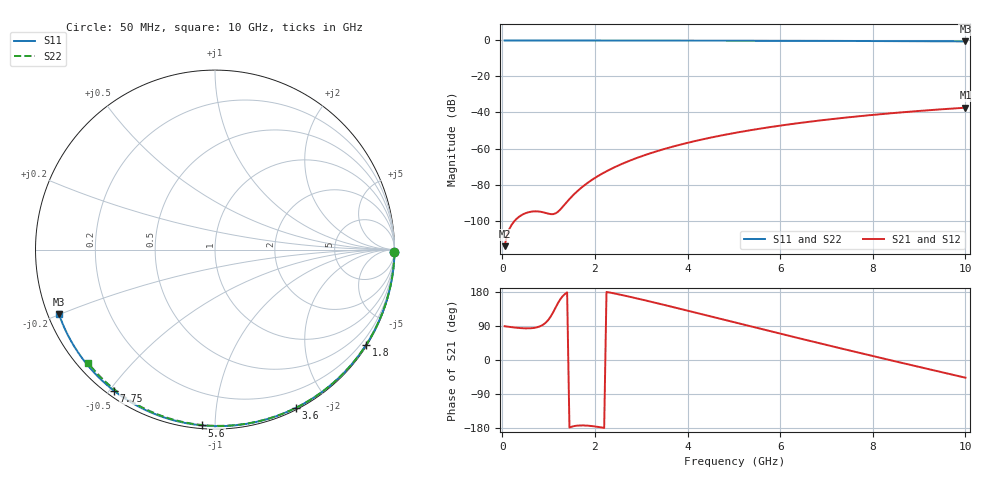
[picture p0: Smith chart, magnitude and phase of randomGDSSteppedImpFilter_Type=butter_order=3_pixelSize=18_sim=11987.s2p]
! freq	dB(S11)	phase(S11)	dB(S12)	phase(S12)
!  dB(S21)	phase(S21)	dB(S22)	phase(S22)
!S-par simulation data
#  GHz  S  DB  R 50
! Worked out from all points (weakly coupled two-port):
!   200 points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, 50 MHz to 10 GHz, reference 50 ohm
!   highest |S21| = -37.34 dB at 10 GHz (marker M1); lowest = -114.2 dB at 50 MHz (marker M2)
!   lowest |S11| = -0.5 dB at 10 GHz (marker M3), VSWR 32.82, Z = 1.58 - j9.91 ohm
!   |S11| at or under -10 dB: nowhere
!   |S22| runs from -0.5 to 0.0 dB; largest |S21 - S12| = 0
!   S11 on the Smith chart (normalised r, x): 50 MHz: open; 1.8 GHz: 0.03, -3.45; 3.6 GHz: 0.02, -1.64; 5.6 GHz: 0.02, -0.93; 7.75 GHz: 0.02, -0.51; 10 GHz: 0.03, -0.20
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0.05  -0.00 -0.9  -114.24 89.1  -114.24 89.1  -0.00 -0.8
0.45  -0.01 -8.2  -96.52 83.8  -96.52 83.8  -0.01 -7.2
0.9  -0.02 -16.3  -95.53 94.7  -95.53 94.7  -0.02 -14.3
1.3  -0.03 -23.5  -92.51 167.8  -92.51 167.8  -0.03 -20.6
1.75  -0.04 -31.4  -80.88 -172.7  -80.88 -172.7  -0.04 -27.6
1.8  -0.04 -32.3  -79.89 -172.9  -79.89 -172.9  -0.04 -28.4
1.95  -0.04 -34.9  -77.18 -174.6  -77.18 -174.6  -0.04 -30.7
2.1  -0.05 -37.5  -74.78 -177.2  -74.78 -177.2  -0.04 -33.0
2.3  -0.05 -41.0  -71.98 178.5  -71.98 178.5  -0.05 -36.0
2.5  -0.06 -44.4  -69.51 173.6  -69.51 173.6  -0.05 -39.1
2.9  -0.07 -51.2  -65.30 162.7  -65.30 162.7  -0.06 -45.1
3.4  -0.08 -59.6  -61.02 148.2  -61.02 148.2  -0.07 -52.5
3.6  -0.08 -62.9  -59.53 142.3  -59.53 142.3  -0.07 -55.4
4.3  -0.11 -74.2  -55.06 121.1  -55.06 121.1  -0.09 -65.5
5.05  -0.13 -85.9  -51.21 98.4  -51.21 98.4  -0.12 -75.9
5.6  -0.16 -94.3  -48.83 81.7  -48.83 81.7  -0.14 -83.4
6.15  -0.18 -102.4  -46.76 65.1  -46.76 65.1  -0.16 -90.6
6.7  -0.22 -110.5  -44.92 48.7  -44.92 48.7  -0.19 -97.8
7.75  -0.29 -125.5  -41.96 17.8  -41.96 17.8  -0.26 -111.0
8.35  -0.34 -134.0  -40.52 0.4  -40.52 0.4  -0.30 -118.4
9.2  -0.43 -146.1  -38.75 -24.0  -38.75 -24.0  -0.38 -128.7
10  -0.53 -157.6  -37.34 -46.7  -37.34 -46.7  -0.47 -138.4
